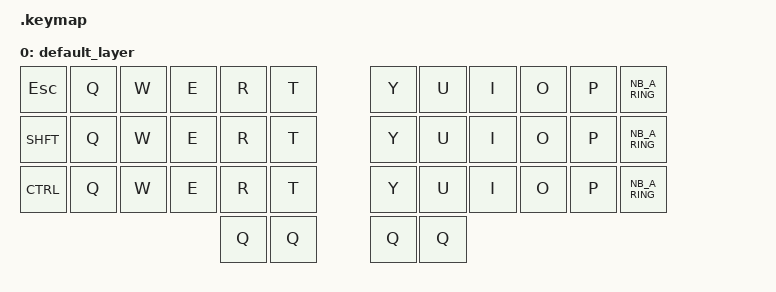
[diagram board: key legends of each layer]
#include <behaviors.dtsi>
#include <dt-bindings/zmk/keys.h>
#include <dt-bindings/zmk/bt.h>
#include "keys_nb.h"

/ {
    keymap {
        compatible = "zmk,keymap";

        default_layer {
            bindings = <
                &kp ESC    &kp Q    &kp W   &kp E   &kp R    &kp T    &kp Y    &kp U    &kp I    &kp O    &kp P    &kp NB_A_RING
                &kp SHFT   &kp Q    &kp W   &kp E   &kp R    &kp T    &kp Y    &kp U    &kp I    &kp O    &kp P    &kp NB_A_RING
                &kp CTRL   &kp Q    &kp W   &kp E   &kp R    &kp T    &kp Y    &kp U    &kp I    &kp O    &kp P    &kp NB_A_RING
                                                    &kp Q    &kp Q    &kp Q    &kp Q
            >;
        };
    };
};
